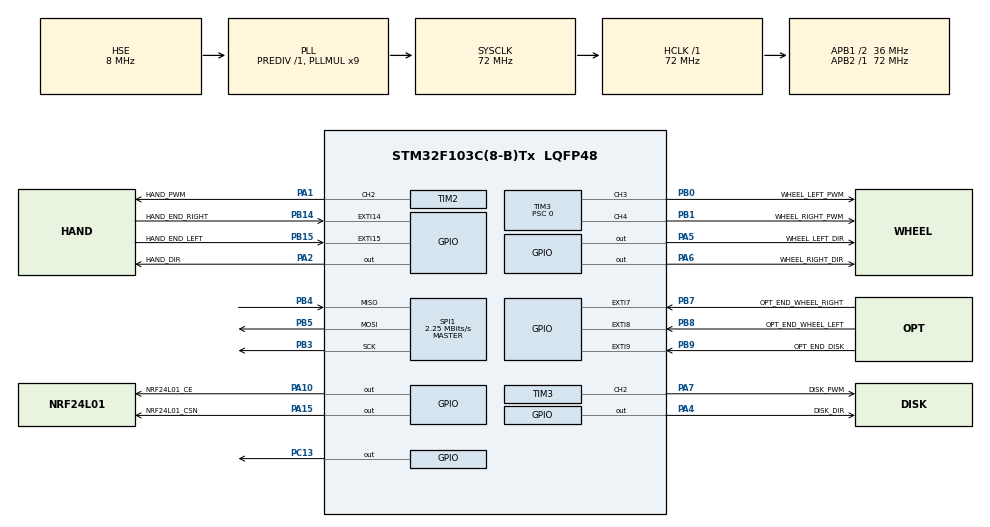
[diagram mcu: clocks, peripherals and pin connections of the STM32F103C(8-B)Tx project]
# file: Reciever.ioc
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Mcu.Family=STM32F1
Mcu.Name=STM32F103C(8-B)Tx
Mcu.Package=LQFP48
NVIC.EXTI15_10_IRQn=true\:0\:0\:false\:false\:true\:true\:true\:true
NVIC.EXTI9_5_IRQn=true\:0\:0\:false\:false\:true\:true\:true\:true
NVIC.PriorityGroup=NVIC_PRIORITYGROUP_4
NVIC.TIM4_IRQn=true\:0\:0\:false\:false\:true\:true\:true\:true
PA1.GPIO_Label=HAND_PWM
PA1.Signal=S_TIM2_CH2
PA10.GPIO_Label=NRF24L01_CE
PA10.Signal=GPIO_Output
PA13.Mode=Serial_Wire
PA13.Signal=SYS_JTMS-SWDIO
PA14.Mode=Serial_Wire
PA14.Signal=SYS_JTCK-SWCLK
PA15.GPIO_Label=NRF24L01_CSN
PA15.Signal=GPIO_Output
PA2.GPIO_Label=HAND_DIR
PA2.Signal=GPIO_Output
PA4.GPIO_Label=DISK_DIR
PA4.Signal=GPIO_Output
PA5.GPIO_Label=WHEEL_LEFT_DIR
PA5.Signal=GPIO_Output
PA6.GPIO_Label=WHEEL_RIGHT_DIR
PA6.Signal=GPIO_Output
PA7.GPIO_Label=DISK_PWM
PA7.Signal=S_TIM3_CH2
PB0.GPIO_Label=WHEEL_LEFT_PWM
PB0.Signal=S_TIM3_CH3
PB1.GPIO_Label=WHEEL_RIGHT_PWM
PB1.Signal=S_TIM3_CH4
PB14.GPIO_Label=HAND_END_RIGHT
PB14.GPIO_ModeDefaultEXTI=GPIO_MODE_IT_RISING_FALLING
PB14.GPIO_PuPd=GPIO_PULLUP
PB14.Signal=GPXTI14
PB15.GPIO_Label=HAND_END_LEFT
PB15.GPIO_ModeDefaultEXTI=GPIO_MODE_IT_RISING_FALLING
PB15.GPIO_PuPd=GPIO_PULLUP
PB15.Signal=GPXTI15
PB3.Mode=Full_Duplex_Master
PB3.Signal=SPI1_SCK
PB4.Mode=Full_Duplex_Master
PB4.Signal=SPI1_MISO
PB5.Mode=Full_Duplex_Master
PB5.Signal=SPI1_MOSI
PB7.GPIO_Label=OPT_END_WHEEL_RIGHT
PB7.GPIO_ModeDefaultEXTI=GPIO_MODE_IT_FALLING
PB7.GPIO_PuPd=GPIO_PULLUP
PB7.Signal=GPXTI7
PB8.GPIO_Label=OPT_END_WHEEL_LEFT
PB8.GPIO_ModeDefaultEXTI=GPIO_MODE_IT_FALLING
PB8.GPIO_PuPd=GPIO_PULLUP
PB8.Signal=GPXTI8
PB9.GPIO_Label=OPT_END_DISK
PB9.GPIO_ModeDefaultEXTI=GPIO_MODE_IT_FALLING
PB9.GPIO_PuPd=GPIO_PULLUP
PB9.Signal=GPXTI9
PC13-TAMPER-RTC.Signal=GPIO_Output
PC14-OSC32_IN.Mode=LSE-External-Oscillator
PC14-OSC32_IN.Signal=RCC_OSC32_IN
PC15-OSC32_OUT.Mode=LSE-External-Oscillator
PC15-OSC32_OUT.Signal=RCC_OSC32_OUT
PD0-OSC_IN.Mode=HSE-External-Oscillator
PD0-OSC_IN.Signal=RCC_OSC_IN
PD1-OSC_OUT.Mode=HSE-External-Oscillator
PD1-OSC_OUT.Signal=RCC_OSC_OUT
ProjectManager.HeapSize=0x200
ProjectManager.StackSize=0x400
ProjectManager.TargetToolchain=STM32CubeIDE
RCC.AHBFreq_Value=72000000
RCC.APB1CLKDivider=RCC_HCLK_DIV2
RCC.APB1Freq_Value=36000000
RCC.APB1TimFreq_Value=72000000
RCC.APB2Freq_Value=72000000
RCC.APB2TimFreq_Value=72000000
RCC.HCLKFreq_Value=72000000
RCC.PLLMUL=RCC_PLL_MUL9
RCC.PLLSourceVirtual=RCC_PLLSOURCE_HSE
RCC.SYSCLKFreq_VALUE=72000000
RCC.SYSCLKSource=RCC_SYSCLKSOURCE_PLLCLK
RCC.USBFreq_Value=72000000
SH.S_TIM2_CH2.0=TIM2_CH2,PWM Generation2 CH2
SH.S_TIM3_CH2.0=TIM3_CH2,PWM Generation2 CH2
SH.S_TIM3_CH3.0=TIM3_CH3,PWM Generation3 CH3
SH.S_TIM3_CH4.0=TIM3_CH4,PWM Generation4 CH4
SPI1.BaudRatePrescaler=SPI_BAUDRATEPRESCALER_32
SPI1.CalculateBaudRate=2.25 MBits/s
SPI1.Direction=SPI_DIRECTION_2LINES
SPI1.Mode=SPI_MODE_MASTER
SPI1.VirtualType=VM_MASTER
TIM2.AutoReloadPreload=TIM_AUTORELOAD_PRELOAD_ENABLE
TIM2.Channel-PWM\ Generation2\ CH2=TIM_CHANNEL_2
TIM3.AutoReloadPreload=TIM_AUTORELOAD_PRELOAD_ENABLE
TIM3.Channel-PWM\ Generation2\ CH2=TIM_CHANNEL_2
TIM3.Channel-PWM\ Generation3\ CH3=TIM_CHANNEL_3
TIM3.Channel-PWM\ Generation4\ CH4=TIM_CHANNEL_4
TIM3.Period=65535
TIM3.Prescaler=0
TIM4.AutoReloadPreload=TIM_AUTORELOAD_PRELOAD_ENABLE
TIM4.Period=36000
TIM4.Prescaler=1000
VP_TIM2_VS_ClockSourceINT.Mode=Internal
VP_TIM3_VS_ClockSourceINT.Mode=Internal
VP_TIM4_VS_ClockSourceINT.Mode=Internal
board=custom

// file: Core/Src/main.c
/* USER CODE BEGIN Header */
/**
  ******************************************************************************
  * @file           : main.c
  * @brief          : Main program body
  ******************************************************************************
  * @attention
  *
  * Copyright (c) 2024 STMicroelectronics.
  * All rights reserved.
  *
  * This software is licensed under terms that can be found in the LICENSE file
  * in the root directory of this software component.
  * If no LICENSE file comes with this software, it is provided AS-IS.
  *
  ******************************************************************************
  */
/* USER CODE END Header */
#include "main.h"
#include "spi.h"
#include "tim.h"
#include "gpio.h"

/* USER CODE BEGIN Includes */

#include "NRF24L01.h"

/* USER CODE END Includes */

void SystemClock_Config(void);

/* USER CODE BEGIN 0 */

const uint8_t rx_address[] = {0xEE, 0xDD, 0xCC, 0xBB, 0xAA};

Payload payload = {0, 0, 0, 0};

// 0 = disk;	1 = right;	2 = left
volatile uint8_t cycles[3] = {0, 0, 0};
volatile uint8_t enable[3] = {1, 1, 1};
// 0 = right(down)	1 = left(up)
volatile uint8_t hand_enable[2] = {1, 1};
volatile uint8_t hand_counter = 0;
/* USER CODE END 0 */

int main(void)
{

  /* MCU Configuration--------------------------------------------------------*/

  /* Reset of all peripherals, Initializes the Flash interface and the Systick. */
  HAL_Init();

  /* Configure the system clock */
  SystemClock_Config();

  /* Initialize all configured peripherals */
  MX_GPIO_Init();
  MX_SPI1_Init();
  MX_TIM3_Init();
  MX_TIM2_Init();
  MX_TIM4_Init();
  /* USER CODE BEGIN 2 */

  NRF24_init();
  NRF24_RX_mode(rx_address, 120);

  HAL_TIM_PWM_Start(&htim3, TIM_CHANNEL_2);
  HAL_TIM_PWM_Start(&htim3, TIM_CHANNEL_3);
  HAL_TIM_PWM_Start(&htim3, TIM_CHANNEL_4);

  HAL_TIM_Base_Start_IT(&htim4);
  HAL_TIM_Base_Start_IT(&htim2);

  /* USER CODE END 2 */

  /* Infinite loop */
  /* USER CODE BEGIN WHILE */
  while (1)
  {
    // TODO: replace the pooling
    if (0 == is_data_received(1))
    {
      if (0 == NRF24_receive(&payload))
      {
	  unload_payload();
      }
    }
    /* USER CODE END WHILE */

  }
}

void SystemClock_Config(void)
{
  RCC_OscInitTypeDef RCC_OscInitStruct = {0};
  RCC_ClkInitTypeDef RCC_ClkInitStruct = {0};

  /** Initializes the RCC Oscillators according to the specified parameters
  * in the RCC_OscInitTypeDef structure.
  */
  RCC_OscInitStruct.OscillatorType = RCC_OSCILLATORTYPE_HSE;
  RCC_OscInitStruct.HSEState = RCC_HSE_ON;
  RCC_OscInitStruct.HSEPredivValue = RCC_HSE_PREDIV_DIV1;
  RCC_OscInitStruct.HSIState = RCC_HSI_ON;
  RCC_OscInitStruct.PLL.PLLState = RCC_PLL_ON;
  RCC_OscInitStruct.PLL.PLLSource = RCC_PLLSOURCE_HSE;
  RCC_OscInitStruct.PLL.PLLMUL = RCC_PLL_MUL9;
  if (HAL_RCC_OscConfig(&RCC_OscInitStruct) != HAL_OK)
  {
    Error_Handler();
  }

  /** Initializes the CPU, AHB and APB buses clocks
  */
  RCC_ClkInitStruct.ClockType = RCC_CLOCKTYPE_HCLK|RCC_CLOCKTYPE_SYSCLK
                              |RCC_CLOCKTYPE_PCLK1|RCC_CLOCKTYPE_PCLK2;
  RCC_ClkInitStruct.SYSCLKSource = RCC_SYSCLKSOURCE_PLLCLK;
  RCC_ClkInitStruct.AHBCLKDivider = RCC_SYSCLK_DIV1;
  RCC_ClkInitStruct.APB1CLKDivider = RCC_HCLK_DIV2;
  RCC_ClkInitStruct.APB2CLKDivider = RCC_HCLK_DIV1;

  if (HAL_RCC_ClockConfig(&RCC_ClkInitStruct, FLASH_LATENCY_2) != HAL_OK)
  {
    Error_Handler();
  }
}

/* USER CODE BEGIN 4 */
/**
  * @brief EXTI line detection callbacks
  * @param GPIO_Pin: Specifies the pins connected EXTI line
  * @retval None
  */
void HAL_GPIO_EXTI_Callback(uint16_t GPIO_Pin)
{
  /* TODO: sadly this interrupt still does not work as I want to
  if (GPIO_Pin == NRF24L01_IRQ_Pin)
  {
    // payload_recieved = 1;
  }
  */

  if (GPIO_Pin == OPT_END_DISK_Pin)
  {
    cycles[0]++;
  }
  if (GPIO_Pin == OPT_END_WHEEL_RIGHT_Pin)
  {
    cycles[1]++;
  }
  if (GPIO_Pin == OPT_END_WHEEL_LEFT_Pin)
  {
    cycles[2]++;
  }

  if (GPIO_Pin == HAND_END_RIGHT_Pin)
  {
    hand_enable[0] = !hand_enable[0];
  }
  if (GPIO_Pin == HAND_END_LEFT_Pin)
  {
    hand_enable[1] = !hand_enable[1];
  }
}

void HAL_TIM_PeriodElapsedCallback(TIM_HandleTypeDef* htim)
{
  if (&htim2 == htim)
  {
    if (2 * payload.hand_position != hand_counter)
    {
      hand_counter++;
      HAL_GPIO_TogglePin(HAND_PWM_GPIO_Port, HAND_PWM_Pin);
    }
    else
    {
      payload.hand_position = 0;
      hand_counter = 0;
    }
  }

  if (&htim4 == htim)
  {
    for (int i = 0; i < 3; i++)
    {
      if (enable[i] && 0 == cycles[i])
      {
	enable[i] = 0;
	cycles[i] = 0;
      }
      else if (!enable[i] && 4 > cycles[i])
      {
	cycles[i]++;
      }
      else
      {
	enable[i] = 1;
	cycles[i] = 0;
      }
    }
  }
}

void get_brushed_DIR(void)
{
  HAL_GPIO_WritePin(DISK_DIR_GPIO_Port, DISK_DIR_Pin, SET);

  if (payload.left_speed < 0)
  {
    payload.left_speed *= -1;
    HAL_GPIO_WritePin(WHEEL_LEFT_DIR_GPIO_Port, WHEEL_LEFT_DIR_Pin, RESET);
  }
  else
  {
    HAL_GPIO_WritePin(WHEEL_LEFT_DIR_GPIO_Port, WHEEL_LEFT_DIR_Pin, SET);
  }

  if (payload.right_speed < 0)
  {
    payload.right_speed *= -1;
    HAL_GPIO_WritePin(WHEEL_RIGHT_DIR_GPIO_Port, WHEEL_RIGHT_DIR_Pin, RESET);
  }
  else
  {
    HAL_GPIO_WritePin(WHEEL_RIGHT_DIR_GPIO_Port, WHEEL_RIGHT_DIR_Pin, SET);
  }
}

void get_brushed_PWM(void)
{
  // ARR => TOP
  TIM3->CCR2 = enable[0] * payload.weapon * TIM3->ARR;
  TIM3->CCR3 = enable[2] * payload.left_speed * TIM3->ARR;
  TIM3->CCR4 = enable[1] * payload.right_speed * TIM3->ARR;
}

void get_hand_DIR(void)
{
  if (hand_enable[0] && payload.hand_position < 0)
  {
    payload.hand_position *= -1;
    HAL_GPIO_WritePin(HAND_DIR_GPIO_Port, HAND_DIR_Pin, RESET);
  }
  else if (hand_enable[1])
  {
    HAL_GPIO_WritePin(HAND_DIR_GPIO_Port, HAND_DIR_Pin, SET);
  }
  else
  {
    payload.hand_position = 0; // stop
  }
}

void unload_payload(void)
{
  get_brushed_DIR();
  get_brushed_PWM();

  get_hand_DIR();
}

/* USER CODE END 4 */

void Error_Handler(void)
{
  __disable_irq();
  while (1)
  {
  }
}
